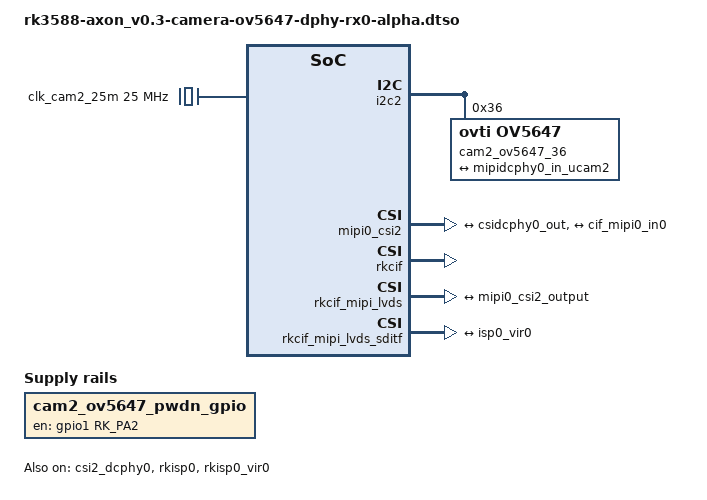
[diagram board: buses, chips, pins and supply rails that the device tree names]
// SPDX-License-Identifier: GPL-2.0+
// Copyright (C) 2024 Vicharak Computers PVT LTD

/dts-v1/;
/plugin/;

#include <dt-bindings/gpio/gpio.h>
#include <dt-bindings/pinctrl/rockchip.h>

&{/} {
	metadata {
		title = "Enable RasPi Camera V1.3 (OV5647) on dphy RX0 Alpha Axon V0.3";
		compatible = "vicharak,rk3588-axon", "rockchip,rk3588";
		category = "camera";
		exclusive = "cam2", "ov5647_2_36", "csi2_dcphy0", "mipi0_csi2", \
					"rkcif_mipi_lvds", "rkcif_mipi_lvds_sditf", "rkisp0_vir0";
		description = "Enables OV5647 based RaspberryPi Camera V1.3 on
\t\tVicharak Axon at I2C 2 bus address 36 on dphy RX0";
	};

	cam2_ov5647_pwdn_gpio: cam2-pwdn-gpio {
		status = "okay";
		compatible = "regulator-fixed";
		regulator-name = "cam2_pwdn_gpio";
		regulator-always-on;
		regulator-boot-on;
		enable-active-high;
		gpio = <&gpio1 RK_PA2 GPIO_ACTIVE_HIGH>;
		pinctrl-names = "default";
		pinctrl-0 = <&cam2_pwdn_gpio>;
	};

	clk_cam2_25m: external-cam2-clock-25m {
		#clock-cells = <0>;
		status = "okay";
		compatible = "fixed-clock";
		clock-frequency = <25000000>;
		clock-output-names = "clk_cam2_25m";
	};
};

&i2c2 {
	status = "okay";
	#address-cells = <1>;
	#size-cells = <0>;
	pinctrl-0 = <&i2c2m4_xfer>;
	cam2_ov5647_36: cam2-ov5647@36 {
	status = "okay";
		compatible = "ovti,ov5647";
		reg = <0x36>;
		
		clocks = <&clk_cam2_25m>;
		clock-names = "xvclk";

		rockchip,camera-module-index = <2>;
		rockchip,camera-module-facing = "back";
		rockchip,camera-module-name = "rpi-camera-v1";
		rockchip,camera-module-lens-name = "default";

		port {
			cam2_ov5647_out0: endpoint {
				remote-endpoint = <&mipidcphy0_in_ucam2>;
				data-lanes = <1 2>;
			};
		};
	};
};

&csi2_dcphy0 {
	status = "okay";

	ports {
		#address-cells = <1>;
		#size-cells = <0>;
	
		port@0 {
			reg = <0>;
			#address-cells = <1>;
			#size-cells = <0>;

			mipidcphy0_in_ucam2: endpoint@1 {
				reg = <1>;
				remote-endpoint = <&cam2_ov5647_out0>;
				data-lanes = <1 2>;
			};
		};

		port@1 {
			reg = <1>;
			#address-cells = <1>;
			#size-cells = <0>;

			csidcphy0_out: endpoint@0 {
				reg = <0>;
				remote-endpoint = <&mipi0_csi2_input>;
			};
		};
	};
};

&mipi0_csi2 {
	status = "okay";

	ports {
	#address-cells = <1>;
	#size-cells = <0>;
	
		port@0 {
			reg = <0>;
			#address-cells = <1>;
			#size-cells = <0>;
			
			mipi0_csi2_input: endpoint@1 {
				reg = <1>;
				remote-endpoint = <&csidcphy0_out>;
			};
		};
		
		port@1 {
			reg = <1>;
			#address-cells = <1>;
			#size-cells = <0>;
			
			mipi0_csi2_output: endpoint@0 {
				reg = <0>;
				remote-endpoint = <&cif_mipi0_in0>;
			};
		};
	};
};

&rkcif {
	status = "okay";
};

&rkcif_mipi_lvds {
	status = "okay";
	
	port {
		cif_mipi0_in0: endpoint {
			remote-endpoint = <&mipi0_csi2_output>;
		};
	};
};

&rkcif_mipi_lvds_sditf {
	status = "okay";
	
	port {
		mipi0_lvds_sditf: endpoint {
			remote-endpoint = <&isp0_vir0>;
		};
	};
};

&rkcif_mmu {
	status = "okay";
};

&rkisp0 {
	status = "okay";
};

&isp0_mmu {
	status = "okay";
};

&rkisp0_vir0 {
	status = "okay";
	
	port {
		#address-cells = <1>;
		#size-cells = <0>;
		
		isp0_vir0: endpoint@0 {
			reg = <0>;
			remote-endpoint = <&mipi0_lvds_sditf>;
		};
	};
};

&pinctrl {
	camera {
		cam2_pwdn_gpio: cam2-pwdn-gpio {
			rockchip,pins = <1 RK_PA2 RK_FUNC_GPIO &pcfg_pull_up>;
		};
	};
};
